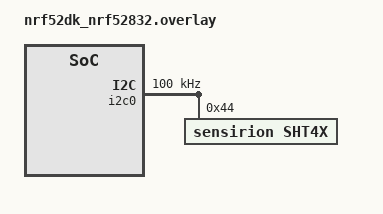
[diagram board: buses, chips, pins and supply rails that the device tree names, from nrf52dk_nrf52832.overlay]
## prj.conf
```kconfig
CONFIG_BT=y
CONFIG_BT_EXT_ADV=y
CONFIG_PM=y
CONFIG_PM_DEVICE=y
CONFIG_CBPRINTF_FP_SUPPORT=n
CONFIG_I2C=y
CONFIG_SENSOR=y
CONFIG_SHT4X=y
CONFIG_LOG=n
CONFIG_BT_PERIPHERAL=y
CONFIG_BT_DEVICE_NAME="SHT_40_Node_F"
CONFIG_BT_GATT_CLIENT=y
CONFIG_ADC=y
CONFIG_SIZE_OPTIMIZATIONS=y
CONFIG_DEBUG_OPTIMIZATIONS=n
CONFIG_COMPILER_OPT=""
CONFIG_MAIN_STACK_SIZE=2048
CONFIG_IDLE_STACK_SIZE=1024
CONFIG_ISR_STACK_SIZE=2048
CONFIG_BT_CTLR_ADV_DATA_LEN_MAX=128
CONFIG_BT_CTLR_TX_PWR_PLUS_4=y

# Enable MCUboot
CONFIG_BOOTLOADER_MCUBOOT=y

# MCUmgr and DFU
CONFIG_MCUMGR=y
CONFIG_MCUMGR_GRP_IMG=y
CONFIG_MCUMGR_GRP_OS=y
CONFIG_IMG_MANAGER=y
CONFIG_MCUBOOT_IMG_MANAGER=y

# Bluetooth MCUmgr Transport
CONFIG_MCUMGR_TRANSPORT_BT=y
# CONFIG_MCUMGR_TRANSPORT_BT_AUTHEN=n # Deprecated or unavailable
# CONFIG_MCUMGR_TRANSPORT_BT_CONN_PARAM_UPGRADE=y # Deprecated or unavailable

# Dependencies
CONFIG_NET_BUF=y
CONFIG_ZCBOR=y
CONFIG_CRC=y
CONFIG_FLASH=y
CONFIG_FLASH_MAP=y
CONFIG_STREAM_FLASH=y
CONFIG_DK_LIBRARY=y

# System
CONFIG_SYSTEM_WORKQUEUE_STACK_SIZE=4096
CONFIG_REBOOT=y
```

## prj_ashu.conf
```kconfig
# FOTA Settings
CONFIG_NCS_SAMPLES_DEFAULTS=y
CONFIG_BT=y
CONFIG_BT_PERIPHERAL=y
# CONFIG_BT_DEVICE_NAME="FOTA_ENABLED_DEVICE"
# Enable the LBS service
CONFIG_BT_LBS=y
CONFIG_BT_LBS_POLL_BUTTON=y
CONFIG_DK_LIBRARY=y
CONFIG_SYSTEM_WORKQUEUE_STACK_SIZE=2048
CONFIG_NCS_SAMPLE_MCUMGR_BT_OTA_DFU=y
```

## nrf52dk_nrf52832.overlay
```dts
&i2c0 {
    compatible = "nordic,nrf-twim"; // Ensure this matches the I2C peripheral on your Nordic SoC
    status = "okay";
    clock-frequency = <I2C_BITRATE_STANDARD>; // Set the I2C bus speed to standard rate (100 kHz)

    sht4x@44 {  // Node for the SHT4x sensor with I2C address 0x44
        compatible = "sensirion,sht4x"; // SHT4x sensor compatible string
        reg = <0x44>;                   // I2C address of the SHT4x sensor
        label = "SHT4X";                // Optional label for the sensor
        status = "okay";                // Enable the sensor
        repeatability = <2>;            // Sensor repeatability setting (if applicable)
    };
};



// /* For node remove the commented part and flash the code to the node  */


// / {
// 	leds {
// 		compatible = "gpio-leds";
// 		led0: led_0 {
// 			gpios = <&gpio0 2 GPIO_ACTIVE_LOW>;
// 			label = "Green LED 0";
// 		};
// 		led1: led_1 {
// 			gpios = <&gpio0 3 GPIO_ACTIVE_LOW>;
// 			label = "Green LED 1";
// 		};
// 		led2: led_2 {
// 			gpios = <&gpio0 4 GPIO_ACTIVE_LOW>;
// 			label = "Green LED 2";
// 		};
// 		led3: led_3 {
// 			gpios = <&gpio0 27 GPIO_ACTIVE_LOW>;
// 			label = "Green LED 3";
// 		};
// 	};
// };
// &pinctrl {
// 	uart0_default: uart0_default {
// 		group1 {
// 			psels = <NRF_PSEL(UART_TX, 0, 24)>, 
// 				<NRF_PSEL(UART_RX, 0, 23)>,   
// 				<NRF_PSEL(UART_RTS, 0, 5)>,
// 				<NRF_PSEL(UART_CTS, 0, 7)>;
// 		};
// 	};

// 	uart0_sleep: uart0_sleep {
// 		group1 {
// 			psels = <NRF_PSEL(UART_TX, 0, 24)>,   
// 				<NRF_PSEL(UART_RX, 0, 23)>,     
// 				<NRF_PSEL(UART_RTS, 0, 5)>,
// 				<NRF_PSEL(UART_CTS, 0, 7)>;
// 			low-power-enable;
// 		};
// 	};
// 	i2c0_default: i2c0_default {
// 		group1 {
// 			psels = <NRF_PSEL(TWIM_SDA, 0, 26)>,  
// 				<NRF_PSEL(TWIM_SCL, 0, 25)>;      
// 		};
// 	};

// 	i2c0_sleep: i2c0_sleep {
// 		group1 {
// 			psels = <NRF_PSEL(TWIM_SDA, 0, 26)>,   
// 				<NRF_PSEL(TWIM_SCL, 0, 25)>;        
// 			low-power-enable;
// 		};
// 	};
// };
```

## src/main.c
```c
#include <zephyr/kernel.h>
#include <zephyr/bluetooth/bluetooth.h>
#include <zephyr/drivers/gpio.h>
#include <zephyr/device.h>
#include <hal/nrf_gpio.h>
#include <zephyr/drivers/sensor.h>
#include <zephyr/bluetooth/controller.h>
#include "fota_ble_ashu.h"

struct bt_le_ext_adv *adv;                                           // Declare a pointer to Bluetooth Low Energy extended advertisement structure
const struct device *const sht = DEVICE_DT_GET_ANY(sensirion_sht4x); // Retrieve the SHT device from the device tree

int8_t temp_value1, temp_value2; // Declare variables to store temperature and humidity values

int8_t hum_value1, hum_value2;

#define DEVICE_NAME CONFIG_BT_DEVICE_NAME
#define DEVICE_NAME_LEN (sizeof(DEVICE_NAME) - 1)

int err; // Declare a variable to store error codes

struct bt_le_adv_param adv_param = BT_LE_ADV_PARAM_INIT(BT_LE_ADV_OPT_CONN | BT_LE_ADV_OPT_EXT_ADV | BT_LE_ADV_OPT_USE_IDENTITY | BT_LE_ADV_OPT_NO_2M, 0x30, 0x30, NULL);
// start advertising with no timeout and exactly one extended advertising event allowed in the extended advertising set.
struct bt_le_ext_adv_start_param ext_adv_param = BT_LE_EXT_ADV_START_PARAM_INIT(0, 2); // number of events is set to 2.
static uint8_t mfg_data[8] = {0};                                                      // Define a static array to store manufacturer data with a size of 8 bytes
static const struct bt_data ad[] = {
    BT_DATA(BT_DATA_MANUFACTURER_DATA, mfg_data, 8), // Define Bluetooth data with manufacturer-specific data
    BT_DATA(BT_DATA_NAME_COMPLETE, DEVICE_NAME, DEVICE_NAME_LEN)};

// function for creating a random static address and setting it as the identity address of the device.
static void set_random_static_address(void) // Function to set a random static address
{

  printk("Starting iBeacon Demo\n"); // Print a message indicating the start of the iBeacon demo

  bt_addr_le_t addr; // Declare a Bluetooth Low Energy address structure

  // convert the string into a binary address and stores this address in a buffer whose address is addr.
  err = bt_addr_le_from_str("FE:BC:BE:AF:BB:11", "random", &addr); // Only random static address can be given when the type is set to "random"
  if (err)                                                         // Check if there was an error in setting the Bluetooth address
  {
    printk("Invalid BT address (err %d)\n", err); // Print an error message indicating the failure to set the Bluetooth address
  }

  // create a new Identity address. This must be done before enabling Bluetooth. Addr is the address used for the new identity
  err = bt_id_create(&addr, NULL); // Attempt to create a new Bluetooth identity using the provided address
  if (err < 0)                     // Check if there was an error in creating the new Bluetooth identity
  {
    printk("Creating new ID failed (err %d)\n", err); // Print an error message indicating the failure to create a new identity
  }
  printk("Created new address\n"); // Print a message indicating the successful creation of a new address
}

// function to create the extended advertising set using the advertising parameters.
void adv_param_init(void) // Function to initialize advertising parameters
{
  int err;

  err = bt_le_ext_adv_create(&adv_param, NULL, &adv); // Attempt to create an extended advertising set

  if (err) // Check if there was an error in creating the advertising set
  {
    printk("Failed to create advertising set (err %d)\n", err); // Print an error message indicating the failure to create the advertising set
    return;
  }
  printk("Created extended advertising set \n"); // Print a message indicating the successful creation of the extended advertising set
}

void fetch_temp_data(void) // Function to fetch temperature data

{

  // Set manufacturer data for device identification

  mfg_data[0] = 0x59; // Data type: Complete list of 16-bit UUIDs available
  mfg_data[1] = 0x00; // Length of the data following this field (including this field)
  mfg_data[2] = 172;  // device id

  // currently looping only once since i=1
  for (int i = 0; i < 1; i++) // Loop to fetch temperature and humidity data multiple times
  {
    struct sensor_value temp, hum; // Declare variables to store temperature and humidity values

    err = sensor_sample_fetch(sht); // Fetch sensor samples from the SHT device

    if (err == 0) // Check if the sampling operation was successful
    {
      sensor_channel_get(sht, SENSOR_CHAN_AMBIENT_TEMP, &temp); // fetch the temperature reading and store it in temp

      sensor_channel_get(sht, SENSOR_CHAN_HUMIDITY, &hum);                                                    // Get humidity data from the sensor
      printf("Temperature= %d.%06d; Humidity= %d.%06d\n", temp.val1, temp.val2, hum.val1, hum.val2); // Print temperature and humidity values
    }
    else
    {
      printf("ERROR: Temperature data update failed: %d\n", err); // Print an error message indicating the failure to update temperature data
    }

    temp_value1 = temp.val1;         // this variable stores only the value before the decimal
    temp_value2 = temp.val2 / 10000; // this variable stores only the value after the decimal

    hum_value1 = hum.val1;         // this variable stores only the value before the decimal
    hum_value2 = hum.val2 / 10000; // this variable stores only the value after the decimal

    // put the logged sensor data into data buffers

    mfg_data[i * 4 + 3] = temp_value1; // Store the first byte of temperature value
    mfg_data[i * 4 + 4] = temp_value2; // Store the second byte of temperature value
    mfg_data[i * 4 + 5] = hum_value1;  // Store the first byte of humidity value
    mfg_data[i * 4 + 6] = hum_value2;  // Store the second byte of humidity value

    // k_msleep(3000);
  }

  mfg_data[7] = 0x00;
}

void start_adv(void)
{

  /* Start advertising */

  err = bt_le_ext_adv_set_data(adv, ad, ARRAY_SIZE(ad), NULL, 0); // Set advertising data for the extended advertising set
  if (err)                                                        // Check if there was an error in setting the advertising data
  {
    printk("Failed (err %d)\n", err); // Print an error message indicating the failure to set the advertising data
    return;
  }
  printk("Start Extended Advertising...");        // Print a message indicating the start of extended advertising
  err = bt_le_ext_adv_start(adv, &ext_adv_param); // BT_LE_EXT_ADV_START_DEFAULT);

  if (err) // Start extended advertising with the specified parameters
  {
    printk("Failed to start extended advertising " // Check if there was an error in starting extended advertising
           "(err %d)\n",
           err);
    return;
  }
  printk("done.\n"); // Print a message indicating the completion of extended advertising start

  // enter sleep mode after advertising
  k_msleep(100); // Delay execution for 100 milliseconds

  bt_le_ext_adv_stop(adv);             // Stop extended advertising
  printk("Stopped advertising..!!\n"); // Print a message indicating the cessation of advertising
}

void main(void) // main function
{
  fota_ashu_start();
  nrf_gpio_cfg_output(DT_GPIO_PIN(DT_NODELABEL(led3), gpios)); // pin 27 aka VDD HIGH FOR SHT-40. CHECK DTS AND OVERLAY ALWAYS.
  nrf_gpio_pin_set(DT_GPIO_PIN(DT_NODELABEL(led3), gpios));    // make pin27 high
  printk("Starting Temperature and Humidity Node\n");          // Print a message indicating the start of the Temperature and Humidity Node

  /* Create a random static address and set it as the identity address of the device */
  set_random_static_address();

  /* Initialize the Bluetooth Subsystem */
  err = bt_enable(NULL); // Enable Bluetooth stack initialization
  if (err)               // Check if there was an error in initializing the Bluetooth stack
  {
    printk("Bluetooth init failed (err %d)\n", err); // Print an error message indicating the failure to initialize Bluetooth
    return;
  }
  adv_param_init();  // Initialize advertising parameters
  
  while (1) {
      fetch_temp_data(); // Fetch temperature data
      start_adv();       // Start advertising
  }
}
```

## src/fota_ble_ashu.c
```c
// fota_ble_ashu.c
#include "fota_ble_ashu.h"
#include <zephyr/kernel.h>
#include <zephyr/sys/printk.h>
#include <zephyr/bluetooth/bluetooth.h>
#include <zephyr/bluetooth/hci.h>
#include <zephyr/bluetooth/conn.h>
#include <zephyr/bluetooth/gatt.h>
#include <zephyr/settings/settings.h>
#include <dk_buttons_and_leds.h>

#define CON_STATUS_LED DK_LED2

static void connected(struct bt_conn *conn, uint8_t err)
{
    if (err) {
        printk("Connection failed (err %u)\n", err);
        return;
    }
    printk("Connected\n");
    dk_set_led_on(CON_STATUS_LED);
}

static void disconnected(struct bt_conn *conn, uint8_t reason)
{
    printk("Disconnected (reason %u)\n", reason);
    dk_set_led_off(CON_STATUS_LED);
}

BT_CONN_CB_DEFINE(conn_callbacks) = {
    .connected = connected,
    .disconnected = disconnected,
};

void fota_ashu_start(void)
{
    int err;

    printk("Initializing FOTA LED indication\n");

    err = dk_leds_init();
    if (err) {
        printk("LED init failed (err %d)\n", err);
        return;
    }
}
```
